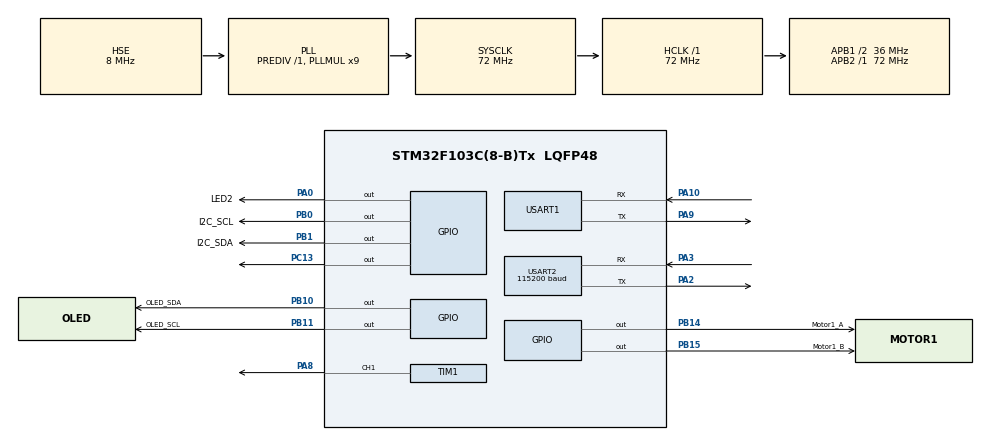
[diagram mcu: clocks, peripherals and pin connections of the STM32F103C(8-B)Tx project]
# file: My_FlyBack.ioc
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Dma.Request0=USART2_RX
Dma.Request1=USART2_TX
Dma.USART2_RX.0.Direction=DMA_PERIPH_TO_MEMORY
Dma.USART2_RX.0.Instance=DMA1_Channel6
Dma.USART2_RX.0.MemDataAlignment=DMA_MDATAALIGN_BYTE
Dma.USART2_RX.0.MemInc=DMA_MINC_ENABLE
Dma.USART2_RX.0.Mode=DMA_CIRCULAR
Dma.USART2_RX.0.PeriphDataAlignment=DMA_PDATAALIGN_BYTE
Dma.USART2_RX.0.PeriphInc=DMA_PINC_DISABLE
Dma.USART2_RX.0.Priority=DMA_PRIORITY_HIGH
Dma.USART2_TX.1.Direction=DMA_MEMORY_TO_PERIPH
Dma.USART2_TX.1.Instance=DMA1_Channel7
Dma.USART2_TX.1.MemDataAlignment=DMA_MDATAALIGN_BYTE
Dma.USART2_TX.1.MemInc=DMA_MINC_ENABLE
Dma.USART2_TX.1.Mode=DMA_CIRCULAR
Dma.USART2_TX.1.PeriphDataAlignment=DMA_PDATAALIGN_BYTE
Dma.USART2_TX.1.PeriphInc=DMA_PINC_DISABLE
Dma.USART2_TX.1.Priority=DMA_PRIORITY_LOW
Mcu.Family=STM32F1
Mcu.Name=STM32F103C(8-B)Tx
Mcu.Package=LQFP48
NVIC.DMA1_Channel6_IRQn=true\:0\:0\:false\:false\:true\:false\:true\:true
NVIC.DMA1_Channel7_IRQn=true\:0\:0\:false\:false\:true\:false\:true\:true
NVIC.PriorityGroup=NVIC_PRIORITYGROUP_4
NVIC.TIM2_IRQn=true\:2\:0\:true\:false\:true\:true\:true\:true
NVIC.USART2_IRQn=true\:0\:0\:false\:false\:true\:true\:true\:true
PA0-WKUP.GPIO_Label=LED2
PA0-WKUP.Signal=GPIO_Output
PA10.Mode=Asynchronous
PA10.Signal=USART1_RX
PA13.Mode=Serial_Wire
PA13.Signal=SYS_JTMS-SWDIO
PA14.Mode=Serial_Wire
PA14.Signal=SYS_JTCK-SWCLK
PA2.Mode=Asynchronous
PA2.Signal=USART2_TX
PA3.Mode=Asynchronous
PA3.Signal=USART2_RX
PA8.Signal=S_TIM1_CH1
PA9.Mode=Asynchronous
PA9.Signal=USART1_TX
PB0.GPIO_Label=I2C_SCL
PB0.GPIO_Speed=GPIO_SPEED_FREQ_HIGH
PB0.PinState=GPIO_PIN_RESET
PB0.Signal=GPIO_Output
PB1.GPIO_Label=I2C_SDA
PB1.GPIO_ModeDefaultOutputPP=GPIO_MODE_OUTPUT_OD
PB1.GPIO_PuPd=GPIO_PULLUP
PB1.GPIO_Speed=GPIO_SPEED_FREQ_HIGH
PB1.PinState=GPIO_PIN_SET
PB1.Signal=GPIO_Output
PB10.GPIO_Label=OLED_SDA
PB10.GPIO_ModeDefaultOutputPP=GPIO_MODE_OUTPUT_OD
PB10.GPIO_PuPd=GPIO_PULLUP
PB10.GPIO_Speed=GPIO_SPEED_FREQ_HIGH
PB10.PinState=GPIO_PIN_SET
PB10.Signal=GPIO_Output
PB11.GPIO_Label=OLED_SCL
PB11.GPIO_Speed=GPIO_SPEED_FREQ_HIGH
PB11.Signal=GPIO_Output
PB14.GPIO_Label=Motor1_A
PB14.Signal=GPIO_Output
PB15.GPIO_Label=Motor1_B
PB15.Signal=GPIO_Output
PC13-TAMPER-RTC.Signal=GPIO_Output
PD0-OSC_IN.Mode=HSE-External-Oscillator
PD0-OSC_IN.Signal=RCC_OSC_IN
PD1-OSC_OUT.Mode=HSE-External-Oscillator
PD1-OSC_OUT.Signal=RCC_OSC_OUT
ProjectManager.HeapSize=0x200
ProjectManager.StackSize=0x400
ProjectManager.TargetToolchain=SW4STM32
RCC.AHBFreq_Value=72000000
RCC.APB1CLKDivider=RCC_HCLK_DIV2
RCC.APB1Freq_Value=36000000
RCC.APB1TimFreq_Value=72000000
RCC.APB2Freq_Value=72000000
RCC.APB2TimFreq_Value=72000000
RCC.HCLKFreq_Value=72000000
RCC.PLLMUL=RCC_PLL_MUL9
RCC.PLLSourceVirtual=RCC_PLLSOURCE_HSE
RCC.SYSCLKFreq_VALUE=72000000
RCC.SYSCLKSource=RCC_SYSCLKSOURCE_PLLCLK
RCC.USBFreq_Value=72000000
SH.S_TIM1_CH1.0=TIM1_CH1,PWM Generation1 CH1
TIM1.Channel-PWM\ Generation1\ CH1=TIM_CHANNEL_1
TIM1.Period=100 - 1
TIM1.Prescaler=720 - 1
TIM2.Period=1000 - 1
TIM2.Prescaler=720 - 1
USART1.VirtualMode=VM_ASYNC
USART2.BaudRate=115200
USART2.VirtualMode=VM_ASYNC
VP_TIM1_VS_ClockSourceINT.Mode=Internal
VP_TIM2_VS_ClockSourceINT.Mode=Internal
board=custom

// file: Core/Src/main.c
/* USER CODE BEGIN Header */
/**
  ******************************************************************************
  * @file           : main.c
  * @brief          : Main program body
  ******************************************************************************
  * @attention
  *
  * Copyright (c) 2023 STMicroelectronics.
  * All rights reserved.
  *
  * This software is licensed under terms that can be found in the LICENSE file
  * in the root directory of this software component.
  * If no LICENSE file comes with this software, it is provided AS-IS.
  *
  ******************************************************************************
  */
/* USER CODE END Header */
#include "main.h"
#include "dma.h"
#include "tim.h"
#include "usart.h"
#include "gpio.h"

/* USER CODE BEGIN Includes */
#include "string.h"
#include "retarget.h"
#include "Motor.h"
#include "Uart_RxPackage.h"
#include "OLED.h"
#include "inv_mpu.h"
#include "JSON_Test.h"
#include "ESP32_MQTT.h"
#include "Servo.h"
/* USER CODE END Includes */

void SystemClock_Config(void);

/* USER CODE BEGIN 0 */
uint16_t i = 0;
UartRx_Package Uart2_Package;
SERVOHandle MQTTSERVO;
uint8_t ESPSubscribeFlag = 0;
float Mpu_Pitch,Mpu_Roll,Mpu_Yaw;
char  *JSONData = NULL;
int JSONLength = 0;
/* USER CODE END 0 */

int main(void)
{

  /* MCU Configuration--------------------------------------------------------*/

  /* Reset of all peripherals, Initializes the Flash interface and the Systick. */
  HAL_Init();

  /* USER CODE BEGIN Init */

    RetargetInit(&huart1); //重定向串口一
    //HAL_DMA_Start(&hdma1,);
  /* USER CODE END Init */

  /* Configure the system clock */
  SystemClock_Config();

  /* Initialize all configured peripherals */
  MX_GPIO_Init();
  MX_TIM1_Init();
  MX_TIM2_Init();
  MX_DMA_Init();
  MX_USART2_UART_Init();
  MX_USART1_UART_Init();
  /* USER CODE BEGIN 2 */
    HAL_TIM_PWM_Start(&htim1,TIM_CHANNEL_1);
    Uart_RxPackage_Init(&Uart2_Package,&htim2,300,&huart2); //初始化串口接收数组
    Uart_PackageStart(&Uart2_Package);

    OLED_Init();
    //mpu_dmp_init(); //初始化MPU6050
    HAL_Delay(1000);
    ESPMQTT_Start();
    HAL_Delay(1000);

    //ESP32Publish(Uart2_Package.huart,77.7,1,80);
    if(ESP32Subscribe(Uart2_Package) == ESPSuccess)ESPSubscribeFlag = 1;
    OLED_ShowString(1,1,"MQTTSubscribeSus");
  /* USER CODE END 2 */

  /* Infinite loop */
  while (1)
  {

    /* USER CODE BEGIN 3 */
//      while(mpu_dmp_get_data(&Mpu_Pitch,&Mpu_Roll,&Mpu_Yaw)!=0);
//      OLED_ShowString(1,1,"Pitch:");
//      OLED_Float(1,7,Mpu_Pitch,1);
//      OLED_ShowString(2,1,"Roll:");
//      OLED_Float(2,7,Mpu_Roll,1);
//      OLED_ShowString(3,1,"Yaw:");
//      OLED_Float(3,7,Mpu_Yaw,1);
//      OLED_ShowNum(4,1,sizeof("H"),1); //末尾有个‘\0’
    if(Uart2_Package.RxEndFalg == 1 && ESPSubscribeFlag == 1) //说明串口中断接收结束
    {
        /**阿里云平台下发数据到ESP再到STM32，阿里云平台无法确定数据是否正确发放，所以需要下位机把接收到的数据发布回给阿里云平台。
         阿里云平台接收到发布回来的数据后，会回一串数据和万恶的“OK”**/

        ESP32ReceiveMsgJSONParse(&Uart2_Package,&JSONData,&JSONLength);
        JSONALLTask(JSONData,JSONLength);
        //JSONBreathLEDTask(JSONData,JSONLength);
        Uart_DoTask(&Uart2_Package);
    }
  }
  /* USER CODE END 3 */
}

void SystemClock_Config(void)
{
  RCC_OscInitTypeDef RCC_OscInitStruct = {0};
  RCC_ClkInitTypeDef RCC_ClkInitStruct = {0};

  /** Initializes the RCC Oscillators according to the specified parameters
  * in the RCC_OscInitTypeDef structure.
  */
  RCC_OscInitStruct.OscillatorType = RCC_OSCILLATORTYPE_HSE;
  RCC_OscInitStruct.HSEState = RCC_HSE_ON;
  RCC_OscInitStruct.HSEPredivValue = RCC_HSE_PREDIV_DIV1;
  RCC_OscInitStruct.HSIState = RCC_HSI_ON;
  RCC_OscInitStruct.PLL.PLLState = RCC_PLL_ON;
  RCC_OscInitStruct.PLL.PLLSource = RCC_PLLSOURCE_HSE;
  RCC_OscInitStruct.PLL.PLLMUL = RCC_PLL_MUL9;
  if (HAL_RCC_OscConfig(&RCC_OscInitStruct) != HAL_OK)
  {
    Error_Handler();
  }

  /** Initializes the CPU, AHB and APB buses clocks
  */
  RCC_ClkInitStruct.ClockType = RCC_CLOCKTYPE_HCLK|RCC_CLOCKTYPE_SYSCLK
                              |RCC_CLOCKTYPE_PCLK1|RCC_CLOCKTYPE_PCLK2;
  RCC_ClkInitStruct.SYSCLKSource = RCC_SYSCLKSOURCE_PLLCLK;
  RCC_ClkInitStruct.AHBCLKDivider = RCC_SYSCLK_DIV1;
  RCC_ClkInitStruct.APB1CLKDivider = RCC_HCLK_DIV2;
  RCC_ClkInitStruct.APB2CLKDivider = RCC_HCLK_DIV1;

  if (HAL_RCC_ClockConfig(&RCC_ClkInitStruct, FLASH_LATENCY_2) != HAL_OK)
  {
    Error_Handler();
  }
}

void Error_Handler(void)
{
  __disable_irq();
  while (1)
  {
  }
}
